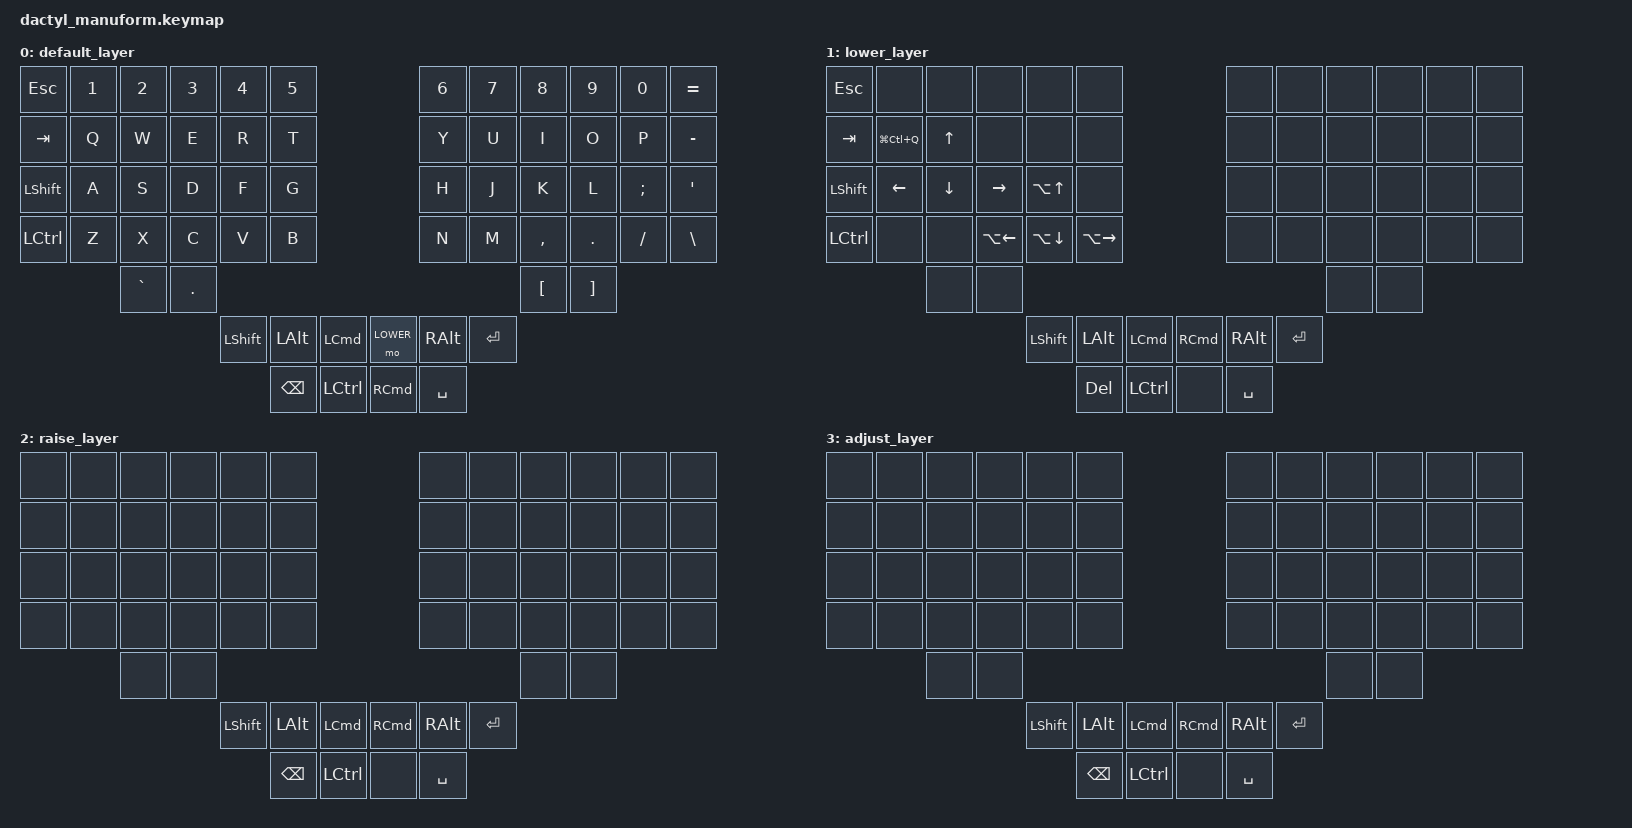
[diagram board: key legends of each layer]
#include <behaviors.dtsi>
#include <dt-bindings/zmk/keys.h>
#include <dt-bindings/zmk/bt.h>
#include <dt-bindings/zmk/outputs.h>
#include <dt-bindings/zmk/mouse.h>

#define DEFAULT 0
#define LOWER 1
#define RAISE 2
#define ADJUST 3


/ {
    keymap {
        compatible = "zmk,keymap";

        default_layer {
            bindings = <
                &kp ESC     &kp N1    &kp N2     &kp N3     &kp N4      &kp N5                              &kp N6      &kp N7     &kp N8     &kp N9     &kp N0         &kp EQUAL
                &kp TAB     &kp Q     &kp W      &kp E      &kp R       &kp T                               &kp Y       &kp U      &kp I      &kp O      &kp P          &kp MINUS
                &kp LSHIFT  &kp A     &kp S      &kp D      &kp F       &kp G                               &kp H       &kp J      &kp K      &kp L      &kp SEMI       &kp SQT
                &kp LCTRL   &kp Z     &kp X      &kp C      &kp V       &kp B                               &kp N       &kp M      &kp COMMA  &kp DOT    &kp FSLH       &kp BSLH
                                      &kp GRAVE  &kp DOT                                                                           &kp LBKT   &kp RBKT
                                                            &kp LSHIFT  &kp LALT   &kp LCMD        &mo LOWER  &kp RALT    &kp RET
                                                                        &kp BSPC   &kp LCTRL       &kp RCMD &kp SPACE
            >;
        };

        lower_layer {
            bindings = <
                &kp ESC     &none    &none     &none     &none      &none                               &none       &none      &none      &none      &none       &none
                &kp TAB     &kp LG(LC(Q))    &kp UP    &none     &none      &none                               &none       &none      &none      &none      &none       &none
                &kp LSHIFT  &kp LEFT &kp DOWN  &kp RIGHT &kp LA(UP)      &none                               &none       &none      &none      &none      &none       &none
                &kp LCTRL   &none    &none     &kp LA(LEFT)     &kp LA(DOWN)      &kp LA(RIGHT)                               &none       &none      &none      &none      &none       &none
                                   &none     &none                                                                         &none   &none
                                                            &kp LSHIFT  &kp LALT   &kp LCMD        &kp RCMD  &kp RALT    &kp RET
                                                                        &kp DEL   &kp LCTRL       &none     &kp SPACE
            >;
        };

        raise_layer {
            bindings = <
                &none     &none    &none     &none     &none      &none                               &none       &none      &none      &none      &none       &none
                &none     &none    &none     &none     &none      &none                               &none       &none      &none      &none      &none       &none
                &none     &none    &none     &none     &none      &none                               &none       &none      &none      &none      &none       &none
                &none     &none    &none     &none     &none      &none                               &none       &none      &none      &none      &none       &none
                                     &none     &none                                                                               &none   &none
                                                            &kp LSHIFT  &kp LALT   &kp LCMD        &kp RCMD  &kp RALT    &kp RET
                                                                        &kp BSPC   &kp LCTRL       &none     &kp SPACE
            >;
        };

	    adjust_layer {
            bindings = <
                &none     &none    &none     &none     &none      &none                               &none       &none      &none      &none      &none       &none
                &none     &none    &none     &none     &none      &none                               &none       &none      &none      &none      &none       &none
                &none     &none    &none     &none     &none      &none                               &none       &none      &none      &none      &none       &none
                &none     &none    &none     &none     &none      &none                               &none       &none      &none      &none      &none       &none
                                     &none     &none                                                                               &none   &none
                                                            &kp LSHIFT  &kp LALT   &kp LCMD        &kp RCMD  &kp RALT    &kp RET
                                                                        &kp BSPC   &kp LCTRL       &none     &kp SPACE
            >;
        };
    };
};
